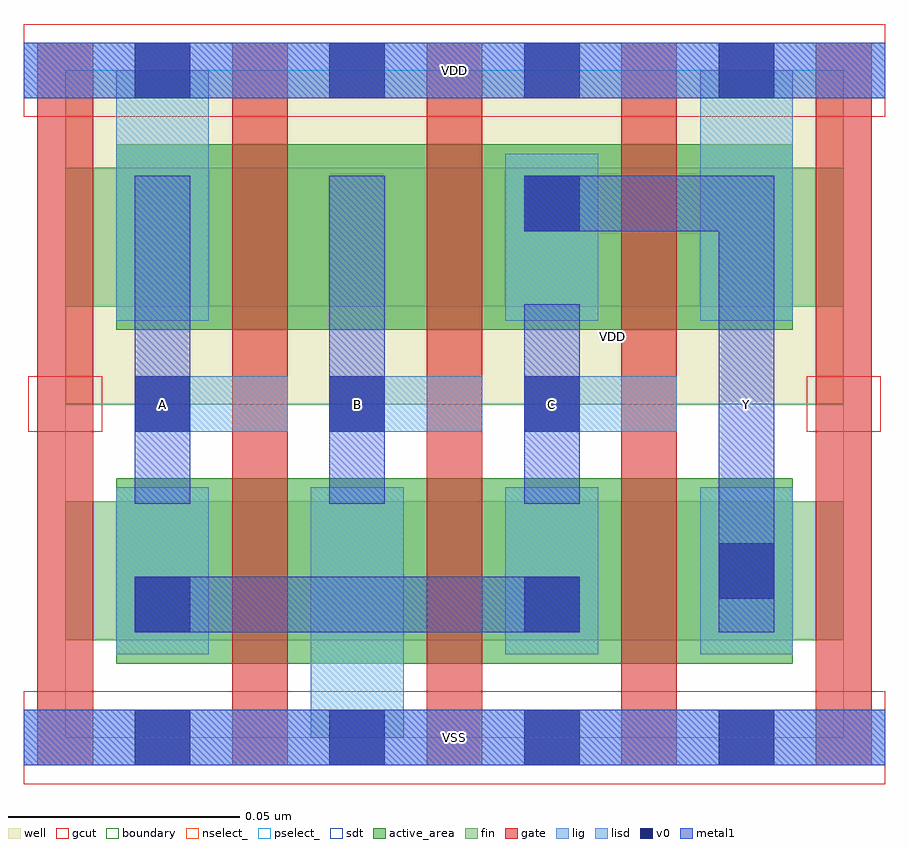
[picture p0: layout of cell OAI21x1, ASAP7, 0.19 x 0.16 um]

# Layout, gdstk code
import gdstk
lib = gdstk.Library(unit=1e-6, precision=2.5e-10)
def R(c, l, rs):  # rectangles x0, y0, x1, y1
    for r in rs: c.add(gdstk.rectangle(r[:2], r[2:], *l))
def A(c, l, x, y, w, h, nx, ny, dx, dy):  # array of equal rectangles
    R(c, l, [(x+i*dx, y+j*dy, x+i*dx+w, y+j*dy+h) for i in range(nx) for j in range(ny)])
def P(c, l, *ps):  # polygons
    for p in ps: c.add(gdstk.Polygon(p, *l))
well = (1, 0)
fin = (2, 0)
gate = (7, 0)
gcut = (10, 0)
active_area = (11, 0)
nselect_ = (12, 0)
pselect_ = (13, 0)
lig = (16, 0)
lisd = (17, 0)
v0 = (18, 0)
metal1 = (19, 0)
sdt = (88, 0)
boundary = (100, 0)

oai21x1 = lib.new_cell('OAI21x1')
R(oai21x1, well, [(0,0.072,0.168,0.144)])
R(oai21x1, fin, [(0,0.021,0.168,0.051), (0,0.093,0.168,0.123)])
A(oai21x1, gate, -0.006, -0.006, 0.012, 0.156, 5, 1, 0.042, 0)
R(oai21x1, gcut, [(-0.009,-0.01,0.177,0.01), (-0.008,0.066,0.008,0.078), (0.16,0.066,0.176,0.078), (-0.009,0.134,0.177,0.154)])
R(oai21x1, active_area, [(0.011,0.016,0.157,0.056), (0.011,0.088,0.157,0.128)])
R(oai21x1, nselect_, [(0,0,0.168,0.072)])
R(oai21x1, pselect_, [(0,0.072,0.168,0.144)])
A(oai21x1, lig, 0.015, 0.066, 0.033, 0.012, 3, 1, 0.042, 0)
R(oai21x1, lig, [(-0.009,-0.006,0.177,0.006), (-0.009,0.138,0.177,0.15)])
R(oai21x1, lisd, [(0.053,0,0.073,0.054), (0.011,0.018,0.031,0.054), (0.095,0.018,0.115,0.054), (0.137,0.018,0.157,0.054), (0.011,0.09,0.031,0.144), (0.095,0.09,0.115,0.126), (0.137,0.09,0.157,0.144)])
A(oai21x1, v0, 0.015, -0.006, 0.012, 0.012, 4, 2, 0.042, 0.144)
A(oai21x1, v0, 0.015, 0.066, 0.012, 0.012, 3, 1, 0.042, 0)
R(oai21x1, v0, [(0.015,0.0227,0.027,0.0348), (0.099,0.0227,0.111,0.0348), (0.141,0.03,0.153,0.042), (0.099,0.1092,0.111,0.1212)])
R(oai21x1, metal1, [(-0.009,-0.006,0.177,0.006), (0.015,0.0227,0.111,0.0348), (0.015,0.0505,0.027,0.1212), (0.057,0.0505,0.069,0.1212), (0.099,0.0505,0.111,0.0935), (-0.009,0.138,0.177,0.15)])
P(oai21x1, metal1, [(0.099,0.1092),(0.141,0.1092),(0.141,0.0227),(0.153,0.0227),(0.153,0.1212),(0.099,0.1212)])
A(oai21x1, sdt, 0.011, 0.021, 0.02, 0.03, 4, 1, 0.042, 0)
R(oai21x1, sdt, [(0.011,0.093,0.031,0.123), (0.095,0.093,0.115,0.123), (0.137,0.093,0.157,0.123)])
R(oai21x1, boundary, [(0,0,0.168,0.144)])
oai21x1.add(gdstk.Label('VDD', (0.118,0.0865), layer=1, texttype=251))
oai21x1.add(gdstk.Label('VSS', (0.185,0.0505), layer=3, texttype=251))
oai21x1.add(gdstk.Label('C', (0.105,0.072), layer=19, texttype=251))
oai21x1.add(gdstk.Label('Y', (0.147,0.072), layer=19, texttype=251))
oai21x1.add(gdstk.Label('A', (0.021,0.072), layer=19, texttype=251))
oai21x1.add(gdstk.Label('VSS', (0.084,0), layer=19, texttype=251))
oai21x1.add(gdstk.Label('VDD', (0.084,0.144), layer=19, texttype=251))
oai21x1.add(gdstk.Label('B', (0.063,0.072), layer=19, texttype=251))

lib.write_gds('OAI21x1.gds')
